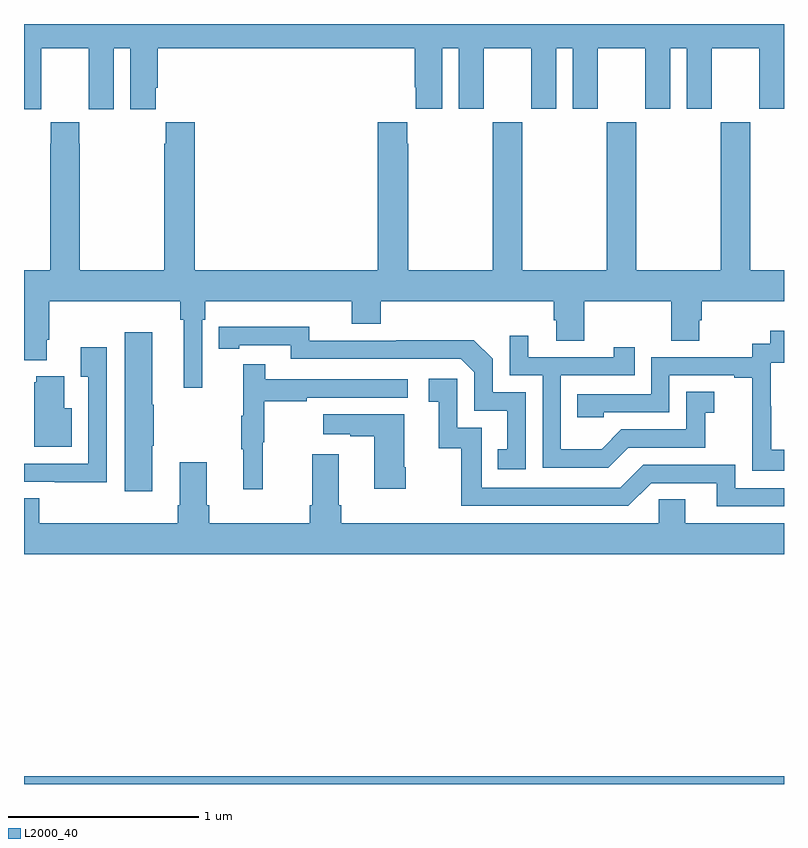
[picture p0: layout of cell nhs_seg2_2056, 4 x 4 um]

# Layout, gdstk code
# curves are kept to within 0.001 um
import gdstk
lib = gdstk.Library(unit=1e-6, precision=1e-09)
def R(c, l, rs):  # rectangles x0, y0, x1, y1
    for r in rs: c.add(gdstk.rectangle(r[:2], r[2:], *l))
def P(c, l, *ps):  # polygons
    for p in ps: c.add(gdstk.Polygon(p, *l))
L2000_40 = (2000, 40)

nhs_seg2_2056 = lib.new_cell('nhs_seg2_2056')
R(nhs_seg2_2056, L2000_40, [(219,607.8,223,607.84)])
P(nhs_seg2_2056, L2000_40, [(219,611.352),(219.09,611.352),(219.09,611.464),(219.091,611.464),(219.091,611.672),(219.341,611.672),(219.341,611.464),(219.342,611.464),(219.342,611.352),(219.472,611.352),(219.472,611.672),(219.56,611.672),(219.56,611.352),(219.694,611.352),(219.694,611.464),(219.704,611.464),(219.704,611.672),(221.057,611.672),(221.057,611.467),(221.063,611.467),(221.063,611.355),(221.2,611.355),(221.2,611.672),(221.288,611.672),(221.288,611.355),(221.419,611.355),(221.419,611.672),(221.669,611.672),(221.669,611.355),(221.8,611.355),(221.8,611.672),(221.888,611.672),(221.888,611.355),(222.019,611.355),(222.019,611.672),(222.269,611.672),(222.269,611.355),(222.4,611.355),(222.4,611.672),(222.488,611.672),(222.488,611.355),(222.619,611.355),(222.619,611.672),(222.869,611.672),(222.869,611.355),(223,611.355),(223,611.8),(219,611.8)],
  [(219.939,610.244),(219.953,610.244),(219.953,610.34),(220.724,610.34),(220.724,610.223),(220.877,610.223),(220.877,610.34),(221.789,610.34),(221.789,610.242),(221.801,610.242),(221.801,610.132),(221.949,610.132),(221.949,610.34),(222.406,610.34),(222.406,610.132),(222.553,610.132),(222.553,610.242),(222.566,610.242),(222.566,610.34),(223,610.34),(223,610.504),(222.822,610.504),(222.822,611.284),(222.667,611.284),(222.667,610.504),(222.222,610.504),(222.222,611.284),(222.067,611.284),(222.067,610.504),(221.622,610.504),(221.622,611.284),(221.467,611.284),(221.467,610.504),(221.022,610.504),(221.022,611.171),(221.017,611.171),(221.017,611.284),(220.862,611.284),(220.862,610.504),(219.899,610.504),(219.899,611.284),(219.745,611.284),(219.745,611.171),(219.739,611.171),(219.739,610.504),(219.294,610.504),(219.294,611.171),(219.291,611.171),(219.291,611.284),(219.141,611.284),(219.141,611.171),(219.139,611.171),(219.139,610.504),(219,610.504),(219,610.031),(219.121,610.031),(219.121,610.138),(219.134,610.138),(219.134,610.34),(219.823,610.34),(219.823,610.244),(219.842,610.244),(219.842,609.885),(219.939,609.885)],
  [(221.64,609.861),(221.466,609.861),(221.466,610.038),(221.368,610.136),(220.96,610.136),(220.96,610.134),(220.5,610.134),(220.5,610.207),(220.024,610.206),(220.024,610.09),(220.132,610.09),(220.132,610.11),(220.404,610.11),(220.404,610.038),(221.298,610.038),(221.37,609.966),(221.37,609.765),(221.543,609.765),(221.543,609.561),(221.494,609.561),(221.494,609.456),(221.64,609.456)],
  [(223,609.559),(222.932,609.559),(222.932,609.788),(222.93,609.788),(222.93,610.017),(223,610.017),(223,610.186),(222.927,610.186),(222.927,610.116),(222.834,610.116),(222.834,610.047),(222.3,610.047),(222.3,609.852),(221.911,609.852),(221.911,609.729),(222.051,609.729),(222.051,609.756),(222.396,609.756),(222.396,609.951),(222.737,609.951),(222.737,609.939),(222.833,609.939),(222.833,609.655),(222.832,609.655),(222.832,609.449),(223,609.449)],
  [(219.676,609.58),(219.684,609.58),(219.684,609.797),(219.676,609.797),(219.676,610.177),(219.53,610.177),(219.53,609.342),(219.676,609.342)],
  [(222.181,609.57),(222.585,609.57),(222.585,609.755),(222.634,609.755),(222.634,609.865),(222.486,609.865),(222.486,609.666),(222.144,609.666),(222.04,609.562),(221.826,609.562),(221.826,609.951),(222.215,609.951),(222.215,610.099),(222.104,610.099),(222.104,610.047),(221.653,610.047),(221.653,610.159),(221.556,610.159),(221.556,609.951),(221.73,609.951),(221.73,609.465),(222.076,609.465)],
  [(219.435,610.099),(219.299,610.099),(219.299,609.943),(219.339,609.943),(219.339,609.486),(219,609.486),(219,609.39),(219.163,609.39),(219.163,609.389),(219.435,609.389)],
  [(220.256,609.6),(220.264,609.6),(220.264,609.814),(220.487,609.814),(220.487,609.834),(221.02,609.834),(221.02,609.93),(220.271,609.93),(220.271,610.009),(220.154,610.009),(220.154,609.737),(220.143,609.737),(220.143,609.563),(220.154,609.563),(220.154,609.351),(220.256,609.351)],
  [(219.25,609.778),(219.211,609.778),(219.211,609.946),(219.065,609.946),(219.065,609.915),(219.053,609.915),(219.053,609.575),(219.25,609.575)],
  [(223,609.357),(222.744,609.357),(222.744,609.48),(222.258,609.48),(222.138,609.36),(221.409,609.36),(221.409,609.675),(221.28,609.675),(221.28,609.934),(221.13,609.934),(221.13,609.813),(221.183,609.813),(221.183,609.567),(221.301,609.567),(221.301,609.264),(222.18,609.264),(222.3,609.384),(222.647,609.384),(222.647,609.261),(223,609.261)],
  [(221.01,609.466),(221.002,609.466),(221.002,609.745),(220.575,609.745),(220.575,609.641),(220.718,609.641),(220.718,609.631),(220.844,609.631),(220.844,609.354),(221.01,609.354)],
  [(223,609.172),(222.481,609.172),(222.481,609.299),(222.342,609.299),(222.342,609.172),(220.67,609.172),(220.67,609.268),(220.657,609.268),(220.657,609.535),(220.517,609.535),(220.517,609.268),(220.505,609.268),(220.505,609.172),(219.974,609.172),(219.974,609.268),(219.961,609.268),(219.961,609.493),(219.821,609.493),(219.821,609.268),(219.809,609.268),(219.809,609.172),(219.08,609.172),(219.08,609.305),(219,609.305),(219,609.008),(223,609.008)])

lib.write_gds('nhs_seg2_2056.gds')
